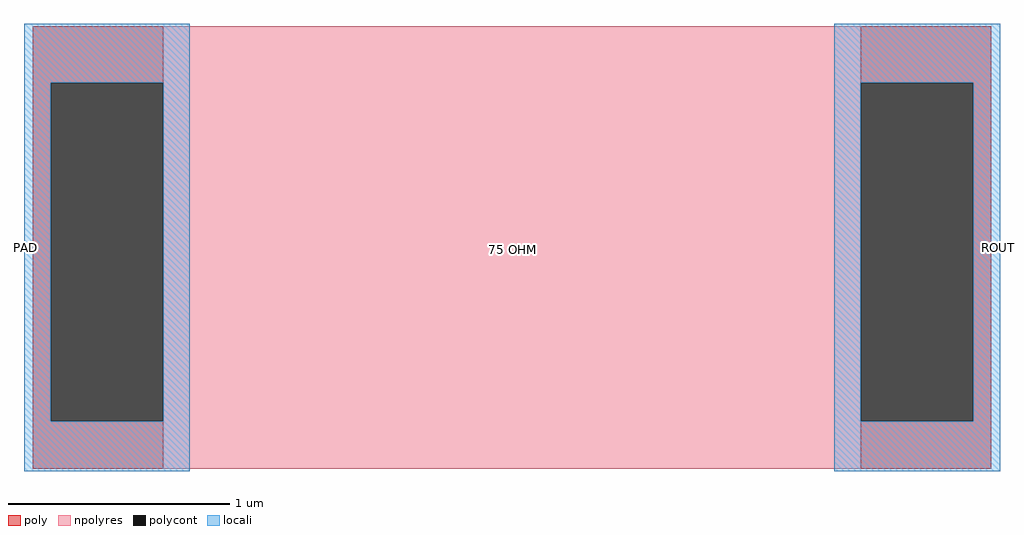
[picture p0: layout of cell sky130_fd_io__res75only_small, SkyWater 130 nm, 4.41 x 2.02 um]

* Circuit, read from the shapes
.subckt sky130_fd_io__res75only_small PAD ROUT
R1 ROUT PAD sky130_fd_pr__res_generic_po w=2 l=3.15
.ends

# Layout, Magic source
magic
tech sky130A
magscale 1 2
<< poly >>
rect 8 351 126 402
rect 8 45 24 351
rect 8 2 126 45
rect 756 351 874 402
rect 858 45 874 351
rect 756 2 874 45
<< polycont >>
rect 24 45 126 351
rect 756 45 858 351
<< npolyres >>
rect 126 2 756 402
<< locali >>
rect 0 351 150 404
rect 0 45 24 351
rect 126 45 150 351
rect 0 0 150 45
rect 732 351 882 404
rect 732 45 756 351
rect 858 45 882 351
rect 732 0 882 45
<< labels >>
flabel locali s 0 1 2 403 3 FreeSans 400 0 0 0 PAD
port 1 nsew
flabel locali s 880 1 882 403 7 FreeSans 400 0 0 0 ROUT
port 2 nsew
flabel comment s 441 200 441 200 0 FreeSans 400 0 0 0 75 OHM
<< properties >>
string GDS_FILE $PDKPATH/libs.ref/sky130_fd_io/gds/sky130_ef_io__gpiov2_pad_wrapped.gds
string GDS_END 29282
string GDS_START 27164
<< end >>
